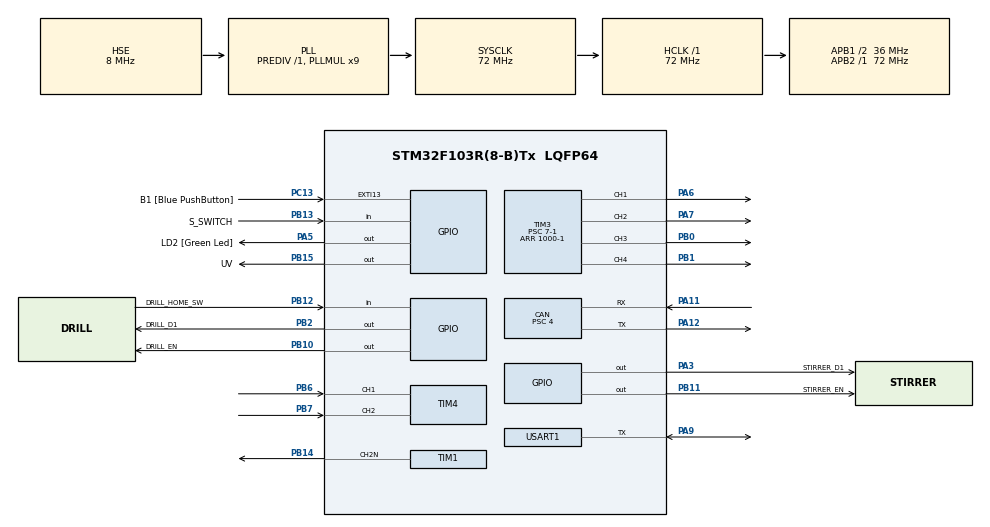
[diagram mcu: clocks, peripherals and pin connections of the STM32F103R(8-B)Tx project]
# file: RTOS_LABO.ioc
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CAN.BS1=CAN_BS1_14TQ
CAN.BS2=CAN_BS2_3TQ
CAN.CalculateBaudRate=500000
CAN.CalculateTimeBit=2000
CAN.CalculateTimeQuantum=111.11111111111111
CAN.Prescaler=4
Mcu.Family=STM32F1
Mcu.Name=STM32F103R(8-B)Tx
Mcu.Package=LQFP64
NVIC.EXTI15_10_IRQn=true\:0\:0\:false\:false\:true\:true\:true\:true
NVIC.PriorityGroup=NVIC_PRIORITYGROUP_4
NVIC.TIM2_IRQn=true\:15\:0\:false\:false\:true\:false\:true\:true
NVIC.TIM4_IRQn=true\:0\:0\:false\:false\:true\:true\:true\:true
NVIC.TimeBase=TIM2_IRQn
NVIC.TimeBaseIP=TIM2
NVIC.USB_LP_CAN1_RX0_IRQn=true\:6\:0\:true\:false\:true\:true\:true\:true
PA11.Mode=CAN_Activate
PA11.Signal=CAN_RX
PA12.Mode=CAN_Activate
PA12.Signal=CAN_TX
PA13.GPIO_Label=TMS
PA13.Mode=Serial_Wire
PA13.Signal=SYS_JTMS-SWDIO
PA14.GPIO_Label=TCK
PA14.Mode=Serial_Wire
PA14.Signal=SYS_JTCK-SWCLK
PA3.GPIO_Label=STIRRER_D1
PA3.Signal=GPIO_Output
PA5.GPIO_Label=LD2 [Green Led]
PA5.GPIO_ModeDefaultOutputPP=GPIO_MODE_OUTPUT_PP
PA5.GPIO_PuPd=GPIO_NOPULL
PA5.GPIO_Speed=GPIO_SPEED_FREQ_LOW
PA5.Signal=GPIO_Output
PA6.Signal=S_TIM3_CH1
PA7.Signal=S_TIM3_CH2
PA9.Mode=Half_duplex(single_wire_mode)
PA9.Signal=USART1_TX
PB0.Signal=S_TIM3_CH3
PB1.Signal=S_TIM3_CH4
PB10.GPIO_Label=DRILL_EN
PB10.Signal=GPIO_Output
PB11.GPIO_Label=STIRRER_EN
PB11.Signal=GPIO_Output
PB12.GPIO_Label=DRILL_HOME_SW
PB12.Signal=GPIO_Input
PB13.GPIO_Label=S_SWITCH
PB13.Signal=GPIO_Input
PB14.Mode=PWM Generation2 CH2N
PB14.Signal=TIM1_CH2N
PB15.GPIO_Label=UV
PB15.GPIO_ModeDefaultOutputPP=GPIO_MODE_OUTPUT_OD
PB15.GPIO_PuPd=GPIO_NOPULL
PB15.Signal=GPIO_Output
PB2.GPIO_Label=DRILL_D1
PB2.Signal=GPIO_Output
PB3.GPIO_Label=SWO
PB3.Signal=SYS_JTDO-TRACESWO
PB6.Signal=S_TIM4_CH1
PB7.Signal=S_TIM4_CH2
PC13-TAMPER-RTC.GPIO_Label=B1 [Blue PushButton]
PC13-TAMPER-RTC.GPIO_PuPd=GPIO_NOPULL
PC13-TAMPER-RTC.Signal=GPXTI13
PC14-OSC32_IN.Signal=RCC_OSC32_IN
PC15-OSC32_OUT.Signal=RCC_OSC32_OUT
PD0-OSC_IN.Mode=HSE-External-Oscillator
PD0-OSC_IN.Signal=RCC_OSC_IN
PD1-OSC_OUT.Mode=HSE-External-Oscillator
PD1-OSC_OUT.Signal=RCC_OSC_OUT
ProjectManager.HeapSize=0x200
ProjectManager.StackSize=0x400
ProjectManager.TargetToolchain=CMake
RCC.AHBFreq_Value=72000000
RCC.APB1CLKDivider=RCC_HCLK_DIV2
RCC.APB1Freq_Value=36000000
RCC.APB1TimFreq_Value=72000000
RCC.APB2Freq_Value=72000000
RCC.APB2TimFreq_Value=72000000
RCC.HCLKFreq_Value=72000000
RCC.PLLMUL=RCC_PLL_MUL9
RCC.PLLSourceVirtual=RCC_PLLSOURCE_HSE
RCC.RTCClockSelection=RCC_RTCCLKSOURCE_LSE
RCC.SYSCLKFreq_VALUE=72000000
RCC.SYSCLKSource=RCC_SYSCLKSOURCE_PLLCLK
RCC.USBFreq_Value=72000000
SH.S_TIM3_CH1.0=TIM3_CH1,PWM Generation1 CH1
SH.S_TIM3_CH2.0=TIM3_CH2,PWM Generation2 CH2
SH.S_TIM3_CH3.0=TIM3_CH3,PWM Generation3 CH3
SH.S_TIM3_CH4.0=TIM3_CH4,PWM Generation4 CH4
SH.S_TIM4_CH1.0=TIM4_CH1,Encoder_Interface
SH.S_TIM4_CH2.0=TIM4_CH2,Encoder_Interface
TIM1.Channel-PWM\ Generation2\ CH2N=TIM_CHANNEL_2
TIM1.Period=20000-1
TIM1.Prescaler=72-1
TIM1.Pulse-PWM\ Generation2\ CH2N=1500
TIM3.Channel-PWM\ Generation1\ CH1=TIM_CHANNEL_1
TIM3.Channel-PWM\ Generation2\ CH2=TIM_CHANNEL_2
TIM3.Channel-PWM\ Generation3\ CH3=TIM_CHANNEL_3
TIM3.Channel-PWM\ Generation4\ CH4=TIM_CHANNEL_4
TIM3.Period=1000-1
TIM3.Prescaler=7-1
USART1.BaudRate=1000000
USART1.VirtualMode=VM_ASYNC
VP_SYS_VS_tim2.Mode=TIM2
VP_TIM1_VS_ClockSourceINT.Mode=Internal
VP_TIM3_VS_ClockSourceINT.Mode=Internal
board=NUCLEO-F103RB

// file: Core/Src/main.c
/* USER CODE BEGIN Header */
/**
  ******************************************************************************
  * @file           : main.c
  * @brief          : Main program body
  ******************************************************************************
  * @attention
  *
  * Copyright (c) 2026 STMicroelectronics.
  * All rights reserved.
  *
  * This software is licensed under terms that can be found in the LICENSE file
  * in the root directory of this software component.
  * If no LICENSE file comes with this software, it is provided AS-IS.
  *
  ******************************************************************************
  */
/* USER CODE END Header */
#include "main.h"
#include "can.h"
#include "tim.h"
#include "usart.h"
#include "gpio.h"

/* USER CODE BEGIN Includes */
#include "motors.h"
#include "lab_sequence.h"
#include "FreeRTOS.h"
#include "task.h"
#include "SEGGER_SYSVIEW.h"
#include "FreeRTOS.h"
#include "queue.h"
/* USER CODE END Includes */

void SystemClock_Config(void);

/* USER CODE BEGIN 0 */
void vBlinkTask(void *pvParameters) {
    for(;;) {
        HAL_GPIO_TogglePin(GPIOA, GPIO_PIN_5); // Zmień na swój pin diody
        vTaskDelay(pdMS_TO_TICKS(500));        // Czekaj 500 ms
    }
}

/* USER CODE END 0 */

int main(void)
{

  /* MCU Configuration--------------------------------------------------------*/

  /* Reset of all peripherals, Initializes the Flash interface and the Systick. */
  HAL_Init();

  /* Configure the system clock */
  SystemClock_Config();

  /* USER CODE BEGIN SysInit */
  /* Włączenie sprzętowego licznika cykli DWT dla Segger SystemView */
  CoreDebug->DEMCR |= CoreDebug_DEMCR_TRCENA_Msk;
  DWT->CYCCNT = 0;
  DWT->CTRL |= DWT_CTRL_CYCCNTENA_Msk;
  /* USER CODE END SysInit */

  /* Initialize all configured peripherals */
  MX_GPIO_Init();
  MX_CAN_Init();
  MX_TIM1_Init();
  MX_TIM3_Init();
  MX_TIM4_Init();
  MX_USART1_UART_Init();
  /* USER CODE BEGIN 2 */
// Tworzenie zadania (Czyste API FreeRTOS zamiast osThreadCreate)

  SEGGER_SYSVIEW_Conf();
  MotorsControl_Init();
  LabRTOS_Init();

  // Uruchomienie planisty
  vTaskStartScheduler();
  /* USER CODE END 2 */

  /* Infinite loop */
  while (1)
  {

  }
}

void SystemClock_Config(void)
{
  RCC_OscInitTypeDef RCC_OscInitStruct = {0};
  RCC_ClkInitTypeDef RCC_ClkInitStruct = {0};

  /** Initializes the RCC Oscillators according to the specified parameters
  * in the RCC_OscInitTypeDef structure.
  */
  RCC_OscInitStruct.OscillatorType = RCC_OSCILLATORTYPE_HSE;
  RCC_OscInitStruct.HSEState = RCC_HSE_ON;
  RCC_OscInitStruct.HSEPredivValue = RCC_HSE_PREDIV_DIV1;
  RCC_OscInitStruct.HSIState = RCC_HSI_ON;
  RCC_OscInitStruct.PLL.PLLState = RCC_PLL_ON;
  RCC_OscInitStruct.PLL.PLLSource = RCC_PLLSOURCE_HSE;
  RCC_OscInitStruct.PLL.PLLMUL = RCC_PLL_MUL9;
  if (HAL_RCC_OscConfig(&RCC_OscInitStruct) != HAL_OK)
  {
    Error_Handler();
  }

  /** Initializes the CPU, AHB and APB buses clocks
  */
  RCC_ClkInitStruct.ClockType = RCC_CLOCKTYPE_HCLK|RCC_CLOCKTYPE_SYSCLK
                              |RCC_CLOCKTYPE_PCLK1|RCC_CLOCKTYPE_PCLK2;
  RCC_ClkInitStruct.SYSCLKSource = RCC_SYSCLKSOURCE_PLLCLK;
  RCC_ClkInitStruct.AHBCLKDivider = RCC_SYSCLK_DIV1;
  RCC_ClkInitStruct.APB1CLKDivider = RCC_HCLK_DIV2;
  RCC_ClkInitStruct.APB2CLKDivider = RCC_HCLK_DIV1;

  if (HAL_RCC_ClockConfig(&RCC_ClkInitStruct, FLASH_LATENCY_2) != HAL_OK)
  {
    Error_Handler();
  }
}

/* USER CODE BEGIN 4 */
void vApplicationTickHook( void ) {
    // Kod tutaj wykonywałby się przy każdym przerwaniu SysTick
}

void HAL_CAN_RxFifo0MsgPendingCallback(CAN_HandleTypeDef *hcan)
{
    // ZŁOTA LINIA OBRONY: Jeśli kolejka jeszcze nie istnieje, po prostu zignoruj ramkę!
    if (xCanMsgQueue == NULL) return;
    //if (xTaskGetSchedulerState() == taskSCHEDULER_NOT_STARTED) return;

    CAN_RxHeaderTypeDef RxHeader;
    CanMsg_t rxMsg;
    BaseType_t xHigherPriorityTaskWoken = pdFALSE;

    if (HAL_CAN_GetRxMessage(hcan, CAN_RX_FIFO0, &RxHeader, rxMsg.Data) == HAL_OK)
    {
        rxMsg.StdId = RxHeader.StdId;
        xQueueSendFromISR(xCanMsgQueue, &rxMsg, &xHigherPriorityTaskWoken);
        portYIELD_FROM_ISR(xHigherPriorityTaskWoken);
    }
}
/* USER CODE END 4 */

void HAL_TIM_PeriodElapsedCallback(TIM_HandleTypeDef *htim)
{
  if (htim->Instance == TIM2)
  {
    HAL_IncTick();
  }
  /* USER CODE BEGIN Callback 1 */
  DrillEncoder_OverflowCallback(htim);
  /* USER CODE END Callback 1 */
}

void Error_Handler(void)
{
  __disable_irq();
  while (1)
  {
  }
}
